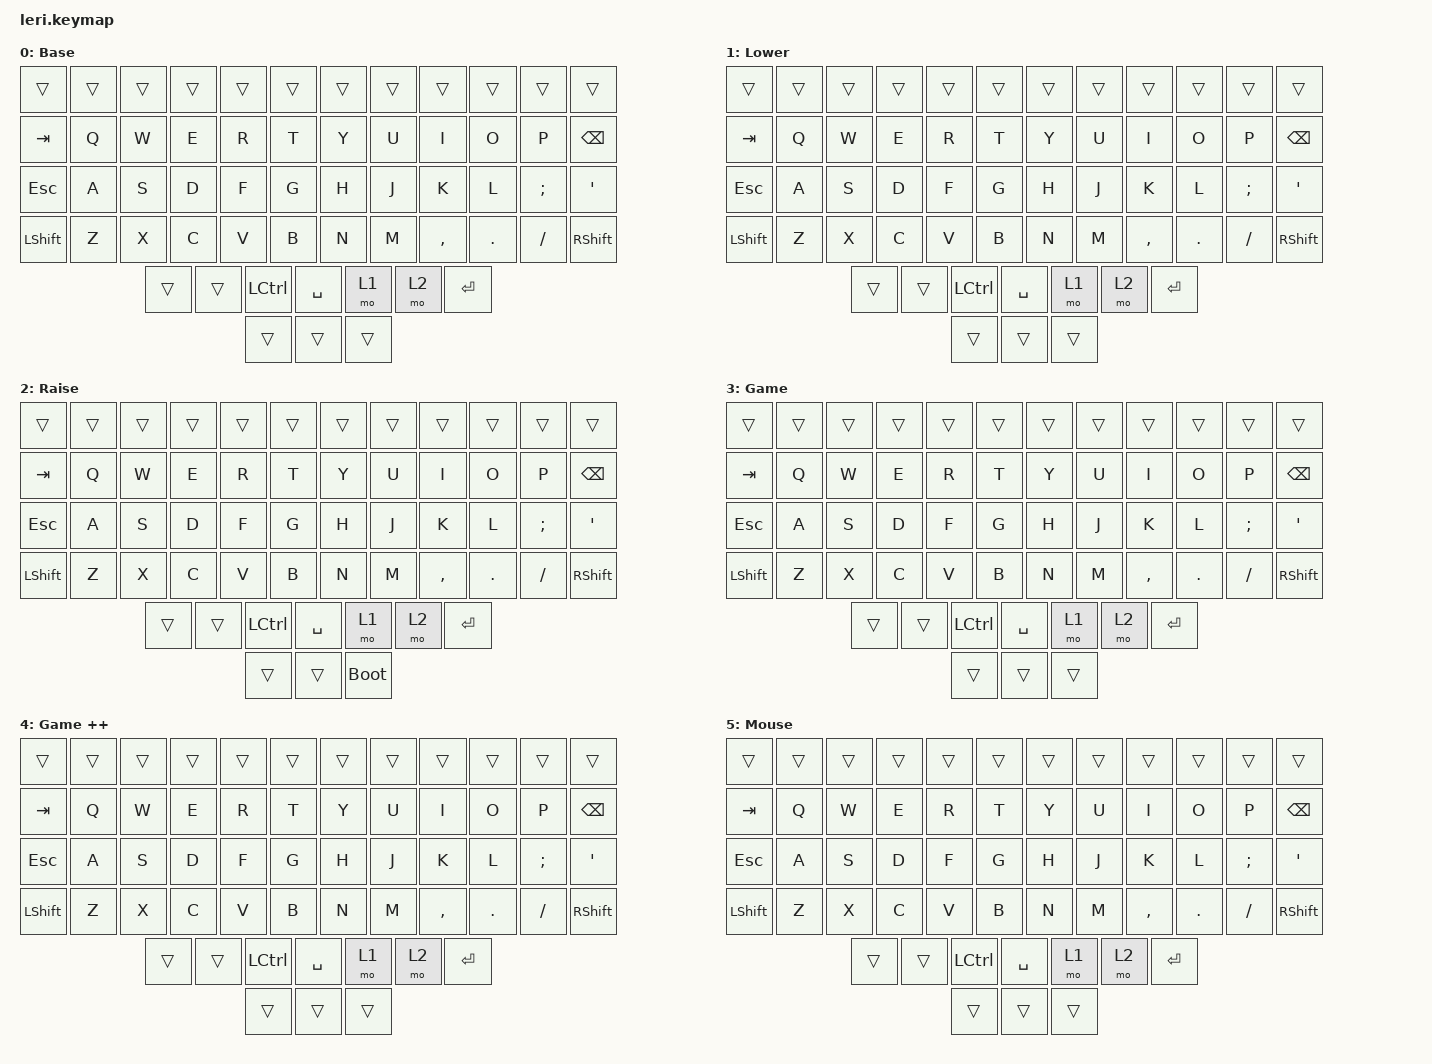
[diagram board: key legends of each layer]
#include <behaviors.dtsi>
#include <dt-bindings/zmk/mouse.h>
#include <dt-bindings/zmk/keys.h>
#include <dt-bindings/zmk/bt.h>
#include <dt-bindings/zmk/outputs.h>
#include <dt-bindings/zmk/keys.h>
#include <behaviors/mouse_keys.dtsi>

&lt {
    tapping-term-ms = <240>;
    flavor = "balanced";
    quick-tap-ms = <150>;
};

/ {
    keymap {
        compatible = "zmk,keymap";

        Base {
            label = "Base";
            bindings = <
            &trans &trans &trans &trans &trans &trans &trans &trans &trans &trans &trans &trans
  &kp TAB  &kp Q  &kp W      &kp E      &kp R  &kp T    &kp Y    &kp U      &kp I    &kp O     &kp P    &kp BSPC
  &kp ESC  &kp A  &kp S      &kp D      &kp F  &kp G    &kp H    &kp J      &kp K    &kp L  &kp SEMI    &kp APOS
&kp LSHFT  &kp Z  &kp X      &kp C      &kp V  &kp B    &kp N    &kp M  &kp COMMA  &kp DOT  &kp FSLH  &kp RSHIFT
                &trans &trans         &kp LCTRL  &kp SPACE  &mo 1    &mo 2  &kp RET
                &trans &trans &trans
            >;
        };

        Lower {
            label = "Lower";
            bindings = <
      &trans &trans &trans &trans &trans &trans &trans &trans &trans &trans &trans &trans
  &kp TAB  &kp Q  &kp W      &kp E      &kp R  &kp T    &kp Y    &kp U      &kp I    &kp O     &kp P    &kp BSPC
  &kp ESC  &kp A  &kp S      &kp D      &kp F  &kp G    &kp H    &kp J      &kp K    &kp L  &kp SEMI    &kp APOS
&kp LSHFT  &kp Z  &kp X      &kp C      &kp V  &kp B    &kp N    &kp M  &kp COMMA  &kp DOT  &kp FSLH  &kp RSHIFT
                &trans &trans         &kp LCTRL  &kp SPACE  &mo 1    &mo 2  &kp RET
                &trans &trans &trans
            >;
        };

        Raise {
            label = "Raise";
            bindings = <
&trans &trans &trans &trans &trans &trans &trans &trans &trans &trans &trans &trans
  &kp TAB  &kp Q  &kp W      &kp E      &kp R  &kp T    &kp Y    &kp U      &kp I    &kp O     &kp P    &kp BSPC
  &kp ESC  &kp A  &kp S      &kp D      &kp F  &kp G    &kp H    &kp J      &kp K    &kp L  &kp SEMI    &kp APOS
&kp LSHFT  &kp Z  &kp X      &kp C      &kp V  &kp B    &kp N    &kp M  &kp COMMA  &kp DOT  &kp FSLH  &kp RSHIFT
                &trans &trans         &kp LCTRL  &kp SPACE  &mo 1    &mo 2  &kp RET
                &trans &trans    &bootloader
            >;
        };

        Game {
            label = "Game";
            bindings = <
&trans &trans &trans &trans &trans &trans &trans &trans &trans &trans &trans &trans
  &kp TAB  &kp Q  &kp W      &kp E      &kp R  &kp T    &kp Y    &kp U      &kp I    &kp O     &kp P    &kp BSPC
  &kp ESC  &kp A  &kp S      &kp D      &kp F  &kp G    &kp H    &kp J      &kp K    &kp L  &kp SEMI    &kp APOS
&kp LSHFT  &kp Z  &kp X      &kp C      &kp V  &kp B    &kp N    &kp M  &kp COMMA  &kp DOT  &kp FSLH  &kp RSHIFT
                &trans &trans         &kp LCTRL  &kp SPACE  &mo 1    &mo 2  &kp RET
                &trans &trans &trans
            >;
        };

        Game_++ {
            label = "Game ++";
            bindings = <
 &trans &trans &trans &trans &trans &trans &trans &trans &trans &trans &trans &trans
  &kp TAB  &kp Q  &kp W      &kp E      &kp R  &kp T    &kp Y    &kp U      &kp I    &kp O     &kp P    &kp BSPC
  &kp ESC  &kp A  &kp S      &kp D      &kp F  &kp G    &kp H    &kp J      &kp K    &kp L  &kp SEMI    &kp APOS
&kp LSHFT  &kp Z  &kp X      &kp C      &kp V  &kp B    &kp N    &kp M  &kp COMMA  &kp DOT  &kp FSLH  &kp RSHIFT
                &trans &trans         &kp LCTRL  &kp SPACE  &mo 1    &mo 2  &kp RET
                &trans &trans &trans
            >;
        };

        Mouse {
            bindings = <
   &trans &trans &trans &trans &trans &trans &trans &trans &trans &trans &trans &trans
  &kp TAB  &kp Q  &kp W      &kp E      &kp R  &kp T    &kp Y    &kp U      &kp I    &kp O     &kp P    &kp BSPC
  &kp ESC  &kp A  &kp S      &kp D      &kp F  &kp G    &kp H    &kp J      &kp K    &kp L  &kp SEMI    &kp APOS
&kp LSHFT  &kp Z  &kp X      &kp C      &kp V  &kp B    &kp N    &kp M  &kp COMMA  &kp DOT  &kp FSLH  &kp RSHIFT
                &trans &trans         &kp LCTRL  &kp SPACE  &mo 1    &mo 2  &kp RET
                &trans &trans &trans
            >;
        };
    };
};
